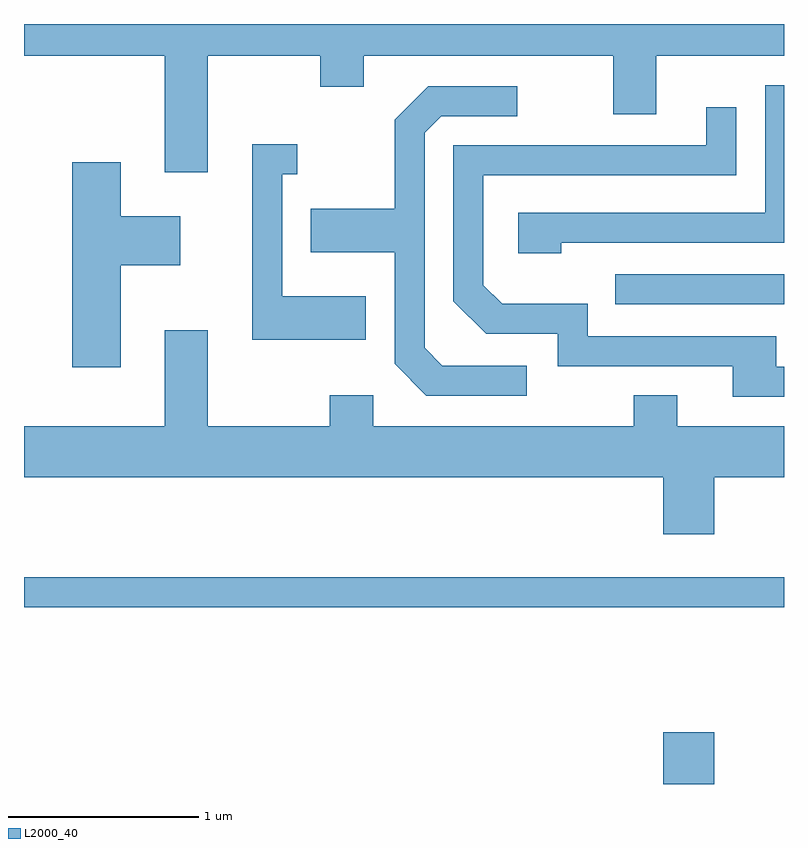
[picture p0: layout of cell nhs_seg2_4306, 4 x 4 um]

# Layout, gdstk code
import gdstk
lib = gdstk.Library(unit=1e-6, precision=1e-09)
def R(c, l, rs):  # rectangles x0, y0, x1, y1
    for r in rs: c.add(gdstk.rectangle(r[:2], r[2:], *l))
def P(c, l, *ps):  # polygons
    for p in ps: c.add(gdstk.Polygon(p, *l))
L2000_40 = (2000, 40)

nhs_seg2_4306 = lib.new_cell('nhs_seg2_4306')
R(nhs_seg2_4306, L2000_40, [(314.976,1057.802,315.244,1058.074), (311.611,1058.731,315.611,1058.889), (314.723,1060.326,315.611,1060.484)])
P(nhs_seg2_4306, L2000_40, [(312.579,1061.636),(313.171,1061.636),(313.171,1061.471),(313.399,1061.471),(313.399,1061.636),(314.711,1061.636),(314.711,1061.326),(314.939,1061.326),(314.939,1061.636),(315.611,1061.636),(315.611,1061.802),(311.611,1061.802),(311.611,1061.636),(312.351,1061.636),(312.351,1061.021),(312.579,1061.021)],
  [(314.439,1060.651),(315.611,1060.651),(315.611,1061.479),(315.511,1061.479),(315.511,1060.809),(314.211,1060.809),(314.211,1060.596),(314.439,1060.596)],
  [(314.258,1060.004),(313.812,1060.004),(313.719,1060.097),(313.719,1061.229),(313.807,1061.316),(314.208,1061.316),(314.208,1061.474),(313.739,1061.474),(313.561,1061.297),(313.561,1060.829),(313.121,1060.829),(313.121,1060.601),(313.561,1060.601),(313.561,1060.014),(313.729,1059.846),(314.258,1059.846)],
  [(315.611,1059.999),(315.569,1059.999),(315.569,1060.159),(314.579,1060.159),(314.579,1060.329),(314.127,1060.329),(314.029,1060.427),(314.029,1061.006),(315.359,1061.006),(315.359,1061.363),(315.201,1061.363),(315.201,1061.164),(313.871,1061.164),(313.871,1060.344),(314.044,1060.171),(314.421,1060.171),(314.421,1060.001),(315.341,1060.001),(315.341,1059.841),(315.611,1059.841)],
  [(313.409,1060.369),(312.969,1060.369),(312.969,1061.011),(313.048,1061.011),(313.048,1061.169),(312.811,1061.169),(312.811,1060.141),(313.409,1060.141)],
  [(312.119,1060.531),(312.434,1060.531),(312.434,1060.789),(312.119,1060.789),(312.119,1061.074),(311.866,1061.074),(311.866,1059.996),(312.119,1059.996)],
  [(315.244,1059.416),(315.611,1059.416),(315.611,1059.684),(315.049,1059.684),(315.049,1059.849),(314.821,1059.849),(314.821,1059.684),(313.449,1059.684),(313.449,1059.849),(313.221,1059.849),(313.221,1059.684),(312.579,1059.684),(312.579,1060.189),(312.351,1060.189),(312.351,1059.684),(311.611,1059.684),(311.611,1059.416),(314.976,1059.416),(314.976,1059.116),(315.244,1059.116)])

lib.write_gds('nhs_seg2_4306.gds')
